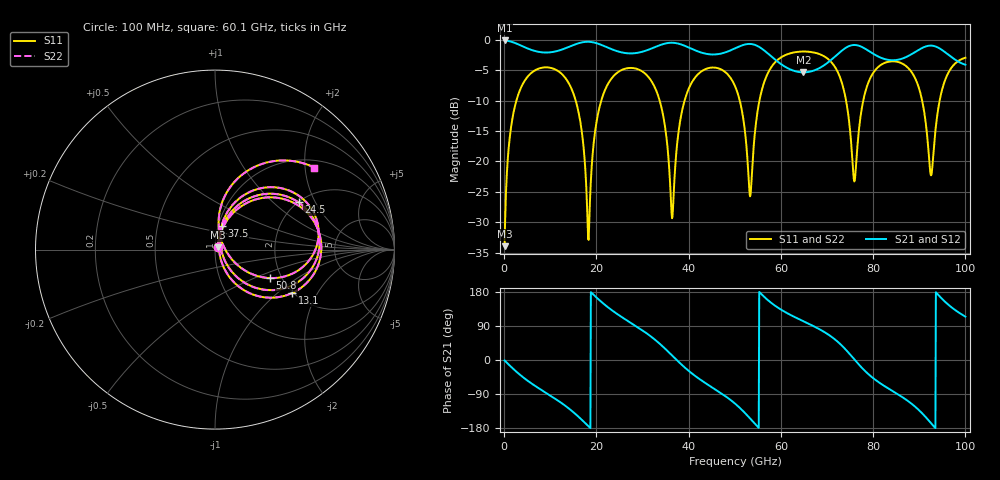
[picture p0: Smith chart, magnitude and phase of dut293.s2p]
! Touchstone file exported from HFSS 2026.1.0
!  File:  C:/ffzhzh/LocalFiles/Ansys_Project_Files/temp_train_TSV_RDL_293_1783681151_29156.aedt
!  Generated:  07:07:14 PM Jul 10, 2026
!  Design:  TSV_RDL
!  Project:  temp_train_TSV_RDL_293_1783681151_29156
! Variables:
!  h_bsmrdl = 4.01um
!  h_ox = 20um
!  h_rdl = 5um
!  h_sub = 65.5um
!  h_tmrdl = 3.81um
!  h_tsv = 65.5um
!  h_via = 3um
!  l_bsmrdl = 486.92um
!  l_sub = 3310.1um
!  l_tmrdl = 331.99um
!  m_sub = 200um
!  pitch = 56.58um
!  r_tsv = 7.52um
!  s_tmrdl = 10um
!  w_bsmrdl = 24.4um
!  w_sub = 500um
!  w_tmrdl = 16.06um
!  x_tsv_center1 = 340.02um
!  x_tsv_center2 = 851.34um
!  x_tsv_center3 = 1199.39um
!  x_tsv_center4 = 1710.71um
!  x_tsv_center5 = 2058.76um
!  x_tsv_center6 = 2570.08um
# GHz S MA R 50.000000
! Terminal data exported
! Port[1] = TM_RDL1_1_T1
! Port[2] = TM_RDL5_1_T1
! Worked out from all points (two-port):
!   1000 points, 100 MHz to 100 GHz, reference 50 ohm
!   highest |S21| = -0.13 dB at 100 MHz (marker M1); lowest = -5.4 dB at 64.9 GHz (marker M2)
!   |S21| within 3 dB of the highest: start of sweep to 58.52 GHz; 86.24 GHz to 97.48 GHz (11.24 GHz wide, 12.2 % of centre) (the widest 2 of 3)
!   lowest |S11| = -33.9 dB at 100 MHz (marker M3), VSWR 1.04, Z = 51.5 + j1.4 ohm
!   |S11| at or under -10 dB: 15.51 GHz to 21.06 GHz (5.552 GHz wide, 30.4 % of centre); 33.71 GHz to 39.12 GHz (5.41 GHz wide, 14.9 % of centre); 51.08 GHz to 55.35 GHz (4.275 GHz wide, 8.03 % of centre) (the widest 3 of 6)
!   |S22| runs from -33.9 to -1.9 dB; largest |S21 - S12| = 1.6e-12
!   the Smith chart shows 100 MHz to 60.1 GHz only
!   S11 on the Smith chart (normalised r, x): 100 MHz: 1.03, +0.03; 13.1 GHz: 1.98, -1.26; 24.5 GHz: 2.01, +1.48; 37.5 GHz: 1.04, +0.28; 50.8 GHz: 1.74, -0.63; 60.1 GHz: 1.19, +2.24
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0.1  0.02014 42.4  0.9853 -1.3  0.9853 -1.3  0.02014 42.4
! Gamma 0 0 0 0
! Port Impedance 50 0 50 0
3.5  0.3915 47.4  0.8999 -39.7  0.8999 -39.7  0.3915 47.4
13.1  0.4938 -29.3  0.8448 -119.3  0.8448 -119.3  0.4938 -29.3
16.8  0.1797 -61.9  0.949 -157.4  0.949 -157.4  0.1797 -61.7
18.3  0.02268 13.4  0.9609 -175.0  0.9609 -175.0  0.02339 13.2
20.4  0.251 65.0  0.9261 160.8  0.9261 160.8  0.2511 64.8
24.5  0.535 29.5  0.8044 121.4  0.8044 121.4  0.5351 29.4
33.4  0.3451 -40.0  0.8906 46.4  0.8906 46.4  0.3451 -40.1
36.3  0.03751 -12.7  0.9437 13.2  0.9437 13.2  0.03651 -13.4
37.5  0.139 74.2  0.9331 -1.1  0.9331 -1.1  0.1388 74.7
42  0.519 40.1  0.801 -47.3  0.801 -47.3  0.519 40.2
50.1  0.4114 -21.6  0.85 -115.5  0.85 -115.5  0.4114 -21.5
50.8  0.3456 -27.4  0.8737 -123.0  0.8737 -123.0  0.3457 -27.3
53.4  0.0526 34.9  0.9223 -155.4  0.9223 -155.4  0.05346 34.8
60.1  0.7179 39.6  0.627 132.4  0.627 132.4  0.7179 39.5
64.9  0.7994 11.7  0.5391 102.2  0.5391 102.2  0.7994 11.6
66.7  0.7902 2.0  0.551 91.7  0.551 91.7  0.7902 1.9
72.9  0.4811 -41.9  0.7945 41.7  0.7945 41.7  0.4812 -41.8
75.9  0.06856 -2.9  0.9048 2.0  0.9048 2.0  0.06994 -2.8
83.4  0.6598 13.1  0.681 -75.9  0.681 -75.9  0.6599 12.9
92.6  0.07683 17.3  0.8937 -167.3  0.8937 -167.3  0.07502 17.4
100  0.7104 22.7  0.6226 114.3  0.6226 114.3  0.7104 22.7
